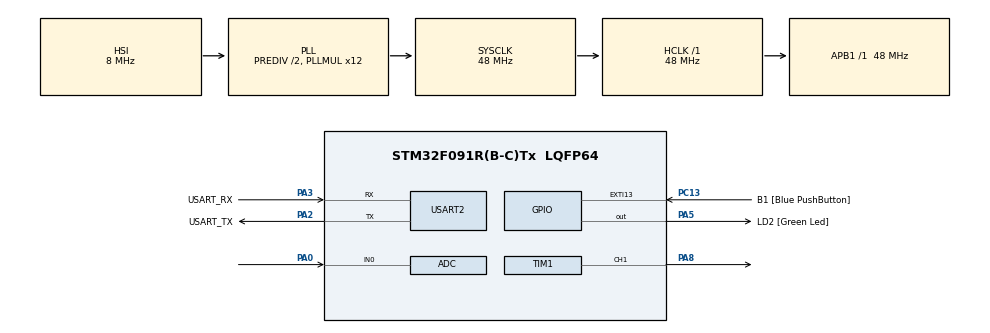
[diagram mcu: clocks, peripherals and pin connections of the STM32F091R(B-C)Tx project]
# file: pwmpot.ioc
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ADC.ContinuousConvMode=ENABLE
Mcu.Family=STM32F0
Mcu.Name=STM32F091R(B-C)Tx
Mcu.Package=LQFP64
PA0.Mode=IN0
PA0.Signal=ADC_IN0
PA13.GPIO_Label=TMS
PA13.Mode=Serial_Wire
PA13.Signal=SYS_SWDIO
PA14.GPIO_Label=TCK
PA14.Mode=Serial_Wire
PA14.Signal=SYS_SWCLK
PA2.GPIO_Label=USART_TX
PA2.GPIO_Mode=GPIO_MODE_AF_PP
PA2.GPIO_PuPd=GPIO_NOPULL
PA2.GPIO_Speed=GPIO_SPEED_FREQ_LOW
PA2.Mode=Asynchronous
PA2.Signal=USART2_TX
PA3.GPIO_Label=USART_RX
PA3.GPIO_Mode=GPIO_MODE_AF_PP
PA3.GPIO_PuPd=GPIO_NOPULL
PA3.GPIO_Speed=GPIO_SPEED_FREQ_LOW
PA3.Mode=Asynchronous
PA3.Signal=USART2_RX
PA5.GPIO_Label=LD2 [Green Led]
PA5.GPIO_Mode=GPIO_MODE_OUTPUT_PP
PA5.GPIO_PuPd=GPIO_NOPULL
PA5.GPIO_Speed=GPIO_SPEED_FREQ_LOW
PA5.Signal=GPIO_Output
PA8.Signal=S_TIM1_CH1
PC13.GPIO_Label=B1 [Blue PushButton]
PC13.GPIO_ModeDefaultEXTI=GPIO_MODE_IT_FALLING
PC13.Signal=GPXTI13
PC14OSC32_IN.Mode=LSE-External-Oscillator
PC14OSC32_IN.Signal=RCC_OSC32_IN
PC15OSC32_OUT.Mode=LSE-External-Oscillator
PC15OSC32_OUT.Signal=RCC_OSC32_OUT
PF0-OSC_IN.Mode=HSE-External-Oscillator
PF0-OSC_IN.Signal=RCC_OSC_IN
PF1-OSC_OUT.Mode=HSE-External-Oscillator
PF1-OSC_OUT.Signal=RCC_OSC_OUT
ProjectManager.HeapSize=0x200
ProjectManager.StackSize=0x400
ProjectManager.TargetToolchain=STM32CubeIDE
RCC.AHBFreq_Value=48000000
RCC.APB1Freq_Value=48000000
RCC.APB1TimFreq_Value=48000000
RCC.FLatency-AdvancedSettings=FLASH_LATENCY_1
RCC.HCLKFreq_Value=48000000
RCC.PLLDivider=RCC_PREDIV_DIV2
RCC.PLLMUL=RCC_PLL_MUL12
RCC.PREFETCH_ENABLE-AdvancedSettings=1
RCC.SYSCLKFreq_VALUE=48000000
RCC.SYSCLKSource=RCC_SYSCLKSOURCE_PLLCLK
SH.S_TIM1_CH1.0=TIM1_CH1,PWM Generation1 CH1
TIM1.AutoReloadPreload=TIM_AUTORELOAD_PRELOAD_ENABLE
TIM1.Channel-PWM\ Generation1\ CH1=TIM_CHANNEL_1
TIM1.Period=49999
TIM1.Prescaler=959
TIM1.Pulse-PWM\ Generation1\ CH1=25000
USART2.VirtualMode=VM_ASYNC
USART2.VirtualMode-Asynchronous=VM_ASYNC
VP_TIM1_VS_ClockSourceINT.Mode=Internal
board=NUCLEO-F091RC

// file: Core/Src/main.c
/* USER CODE BEGIN Header */
/**
 ******************************************************************************
 * @file           : main.c
 * @brief          : Main program body
 ******************************************************************************
 * @attention
 *
 * Copyright (c) 2025 STMicroelectronics.
 * All rights reserved.
 *
 * This software is licensed under terms that can be found in the LICENSE file
 * in the root directory of this software component.
 * If no LICENSE file comes with this software, it is provided AS-IS.
 *
 ******************************************************************************
 */
/* USER CODE END Header */
#include "main.h"

ADC_HandleTypeDef hadc;

TIM_HandleTypeDef htim1;

UART_HandleTypeDef huart2;

void SystemClock_Config(void);
static void MX_GPIO_Init(void);
static void MX_ADC_Init(void);
static void MX_USART2_UART_Init(void);
static void MX_TIM1_Init(void);

/* USER CODE BEGIN 0 */
uint16_t potValue;
uint32_t FreqFinal = 0;
uint32_t Freq1 = 0;
uint32_t Freq2 = 0;
uint32_t Freq3 = 0;
uint32_t Freq4 = 0;
uint8_t verif = 0;
uint8_t verif2 = 1;
uint32_t Numerator;
/* USER CODE END 0 */

int main(void) {

	/* MCU Configuration--------------------------------------------------------*/

	/* Reset of all peripherals, Initializes the Flash interface and the Systick. */
	HAL_Init();

	/* Configure the system clock */
	SystemClock_Config();

	/* Initialize all configured peripherals */
	MX_GPIO_Init();
	MX_ADC_Init();
	MX_USART2_UART_Init();
	MX_TIM1_Init();
	/* USER CODE BEGIN 2 */
	HAL_TIM_PWM_Start(&htim1, TIM_CHANNEL_1);
	HAL_ADC_Start(&hadc);
	/* USER CODE END 2 */

	/* Infinite loop */
	/* USER CODE BEGIN WHILE */
	while (1) {
		HAL_ADC_PollForConversion(&hadc, 100);
		potValue = HAL_ADC_GetValue(&hadc);
		switch (verif) {
		case 0: {
			Freq1 = 5999 * potValue / 4095;
			verif++;
			break;
		}
		case 1: {
			Freq2 = 5999 * potValue / 4095;
			verif++;
			break;
		}
		case 2: {
			Freq3 = 5999 * potValue / 4095;
			verif++;
			break;
		}
		case 3: {
			Freq4 = 5999 * potValue / 4095;
			FreqFinal = (int) (Freq1 + Freq2 + Freq3 + Freq4) / 4;
			verif = 0;
			if (FreqFinal == 0) {
				HAL_TIM_PWM_Stop(&htim1, TIM_CHANNEL_1);
				verif2 = 0;
			} else {
				if (verif2 == 0) {
					HAL_TIM_PWM_Start(&htim1, TIM_CHANNEL_1);
					verif2 = 1;
				}
				Numerator = 50000.0 / FreqFinal - 1;
				__HAL_TIM_SET_AUTORELOAD(&htim1, Numerator);
				__HAL_TIM_SET_COMPARE(&htim1, TIM_CHANNEL_1, Numerator / 2);
				break;
			}
		}

		}

		HAL_Delay(10);
		/* USER CODE END WHILE */

	}
}

void SystemClock_Config(void) {
	RCC_OscInitTypeDef RCC_OscInitStruct = { 0 };
	RCC_ClkInitTypeDef RCC_ClkInitStruct = { 0 };
	RCC_PeriphCLKInitTypeDef PeriphClkInit = { 0 };

	/** Initializes the RCC Oscillators according to the specified parameters
	 * in the RCC_OscInitTypeDef structure.
	 */
	RCC_OscInitStruct.OscillatorType = RCC_OSCILLATORTYPE_HSI
			| RCC_OSCILLATORTYPE_HSI14;
	RCC_OscInitStruct.HSIState = RCC_HSI_ON;
	RCC_OscInitStruct.HSI14State = RCC_HSI14_ON;
	RCC_OscInitStruct.HSICalibrationValue = RCC_HSICALIBRATION_DEFAULT;
	RCC_OscInitStruct.HSI14CalibrationValue = 16;
	RCC_OscInitStruct.PLL.PLLState = RCC_PLL_ON;
	RCC_OscInitStruct.PLL.PLLSource = RCC_PLLSOURCE_HSI;
	RCC_OscInitStruct.PLL.PLLMUL = RCC_PLL_MUL12;
	RCC_OscInitStruct.PLL.PREDIV = RCC_PREDIV_DIV2;
	if (HAL_RCC_OscConfig(&RCC_OscInitStruct) != HAL_OK) {
		Error_Handler();
	}

	/** Initializes the CPU, AHB and APB buses clocks
	 */
	RCC_ClkInitStruct.ClockType = RCC_CLOCKTYPE_HCLK | RCC_CLOCKTYPE_SYSCLK
			| RCC_CLOCKTYPE_PCLK1;
	RCC_ClkInitStruct.SYSCLKSource = RCC_SYSCLKSOURCE_PLLCLK;
	RCC_ClkInitStruct.AHBCLKDivider = RCC_SYSCLK_DIV1;
	RCC_ClkInitStruct.APB1CLKDivider = RCC_HCLK_DIV1;

	if (HAL_RCC_ClockConfig(&RCC_ClkInitStruct, FLASH_LATENCY_1) != HAL_OK) {
		Error_Handler();
	}
	PeriphClkInit.PeriphClockSelection = RCC_PERIPHCLK_USART2;
	PeriphClkInit.Usart2ClockSelection = RCC_USART2CLKSOURCE_PCLK1;
	if (HAL_RCCEx_PeriphCLKConfig(&PeriphClkInit) != HAL_OK) {
		Error_Handler();
	}
}

static void MX_ADC_Init(void) {

	ADC_ChannelConfTypeDef sConfig = { 0 };

	/** Configure the global features of the ADC (Clock, Resolution, Data Alignment and number of conversion)
	 */
	hadc.Instance = ADC1;
	hadc.Init.ClockPrescaler = ADC_CLOCK_ASYNC_DIV1;
	hadc.Init.Resolution = ADC_RESOLUTION_12B;
	hadc.Init.DataAlign = ADC_DATAALIGN_RIGHT;
	hadc.Init.ScanConvMode = ADC_SCAN_DIRECTION_FORWARD;
	hadc.Init.EOCSelection = ADC_EOC_SINGLE_CONV;
	hadc.Init.LowPowerAutoWait = DISABLE;
	hadc.Init.LowPowerAutoPowerOff = DISABLE;
	hadc.Init.ContinuousConvMode = ENABLE;
	hadc.Init.DiscontinuousConvMode = DISABLE;
	hadc.Init.ExternalTrigConv = ADC_SOFTWARE_START;
	hadc.Init.ExternalTrigConvEdge = ADC_EXTERNALTRIGCONVEDGE_NONE;
	hadc.Init.DMAContinuousRequests = DISABLE;
	hadc.Init.Overrun = ADC_OVR_DATA_PRESERVED;
	if (HAL_ADC_Init(&hadc) != HAL_OK) {
		Error_Handler();
	}

	/** Configure for the selected ADC regular channel to be converted.
	 */
	sConfig.Channel = ADC_CHANNEL_0;
	sConfig.Rank = ADC_RANK_CHANNEL_NUMBER;
	sConfig.SamplingTime = ADC_SAMPLETIME_1CYCLE_5;
	if (HAL_ADC_ConfigChannel(&hadc, &sConfig) != HAL_OK) {
		Error_Handler();
	}

}

static void MX_TIM1_Init(void) {

	TIM_ClockConfigTypeDef sClockSourceConfig = { 0 };
	TIM_MasterConfigTypeDef sMasterConfig = { 0 };
	TIM_OC_InitTypeDef sConfigOC = { 0 };
	TIM_BreakDeadTimeConfigTypeDef sBreakDeadTimeConfig = { 0 };

	htim1.Instance = TIM1;
	htim1.Init.Prescaler = 959;
	htim1.Init.CounterMode = TIM_COUNTERMODE_UP;
	htim1.Init.Period = 49999;
	htim1.Init.ClockDivision = TIM_CLOCKDIVISION_DIV1;
	htim1.Init.RepetitionCounter = 0;
	htim1.Init.AutoReloadPreload = TIM_AUTORELOAD_PRELOAD_ENABLE;
	if (HAL_TIM_Base_Init(&htim1) != HAL_OK) {
		Error_Handler();
	}
	sClockSourceConfig.ClockSource = TIM_CLOCKSOURCE_INTERNAL;
	if (HAL_TIM_ConfigClockSource(&htim1, &sClockSourceConfig) != HAL_OK) {
		Error_Handler();
	}
	if (HAL_TIM_PWM_Init(&htim1) != HAL_OK) {
		Error_Handler();
	}
	sMasterConfig.MasterOutputTrigger = TIM_TRGO_RESET;
	sMasterConfig.MasterSlaveMode = TIM_MASTERSLAVEMODE_DISABLE;
	if (HAL_TIMEx_MasterConfigSynchronization(&htim1, &sMasterConfig)
			!= HAL_OK) {
		Error_Handler();
	}
	sConfigOC.OCMode = TIM_OCMODE_PWM1;
	sConfigOC.Pulse = 25000;
	sConfigOC.OCPolarity = TIM_OCPOLARITY_HIGH;
	sConfigOC.OCNPolarity = TIM_OCNPOLARITY_HIGH;
	sConfigOC.OCFastMode = TIM_OCFAST_DISABLE;
	sConfigOC.OCIdleState = TIM_OCIDLESTATE_RESET;
	sConfigOC.OCNIdleState = TIM_OCNIDLESTATE_RESET;
	if (HAL_TIM_PWM_ConfigChannel(&htim1, &sConfigOC, TIM_CHANNEL_1)
			!= HAL_OK) {
		Error_Handler();
	}
	sBreakDeadTimeConfig.OffStateRunMode = TIM_OSSR_DISABLE;
	sBreakDeadTimeConfig.OffStateIDLEMode = TIM_OSSI_DISABLE;
	sBreakDeadTimeConfig.LockLevel = TIM_LOCKLEVEL_OFF;
	sBreakDeadTimeConfig.DeadTime = 0;
	sBreakDeadTimeConfig.BreakState = TIM_BREAK_DISABLE;
	sBreakDeadTimeConfig.BreakPolarity = TIM_BREAKPOLARITY_HIGH;
	sBreakDeadTimeConfig.AutomaticOutput = TIM_AUTOMATICOUTPUT_DISABLE;
	if (HAL_TIMEx_ConfigBreakDeadTime(&htim1, &sBreakDeadTimeConfig)
			!= HAL_OK) {
		Error_Handler();
	}
	HAL_TIM_MspPostInit(&htim1);

}

static void MX_USART2_UART_Init(void) {

	huart2.Instance = USART2;
	huart2.Init.BaudRate = 115200;
	huart2.Init.WordLength = UART_WORDLENGTH_8B;
	huart2.Init.StopBits = UART_STOPBITS_1;
	huart2.Init.Parity = UART_PARITY_NONE;
	huart2.Init.Mode = UART_MODE_TX_RX;
	huart2.Init.HwFlowCtl = UART_HWCONTROL_NONE;
	huart2.Init.OverSampling = UART_OVERSAMPLING_16;
	huart2.Init.OneBitSampling = UART_ONE_BIT_SAMPLE_DISABLE;
	huart2.AdvancedInit.AdvFeatureInit = UART_ADVFEATURE_NO_INIT;
	if (HAL_UART_Init(&huart2) != HAL_OK) {
		Error_Handler();
	}

}

static void MX_GPIO_Init(void) {
	GPIO_InitTypeDef GPIO_InitStruct = { 0 };

	/* GPIO Ports Clock Enable */
	__HAL_RCC_GPIOC_CLK_ENABLE();
	__HAL_RCC_GPIOF_CLK_ENABLE();
	__HAL_RCC_GPIOA_CLK_ENABLE();

	/*Configure GPIO pin Output Level */
	HAL_GPIO_WritePin(LD2_GPIO_Port, LD2_Pin, GPIO_PIN_RESET);

	/*Configure GPIO pin : B1_Pin */
	GPIO_InitStruct.Pin = B1_Pin;
	GPIO_InitStruct.Mode = GPIO_MODE_IT_FALLING;
	GPIO_InitStruct.Pull = GPIO_NOPULL;
	HAL_GPIO_Init(B1_GPIO_Port, &GPIO_InitStruct);

	/*Configure GPIO pin : LD2_Pin */
	GPIO_InitStruct.Pin = LD2_Pin;
	GPIO_InitStruct.Mode = GPIO_MODE_OUTPUT_PP;
	GPIO_InitStruct.Pull = GPIO_NOPULL;
	GPIO_InitStruct.Speed = GPIO_SPEED_FREQ_LOW;
	HAL_GPIO_Init(LD2_GPIO_Port, &GPIO_InitStruct);

}

void Error_Handler(void) {
	__disable_irq();
	while (1) {
	}
}
